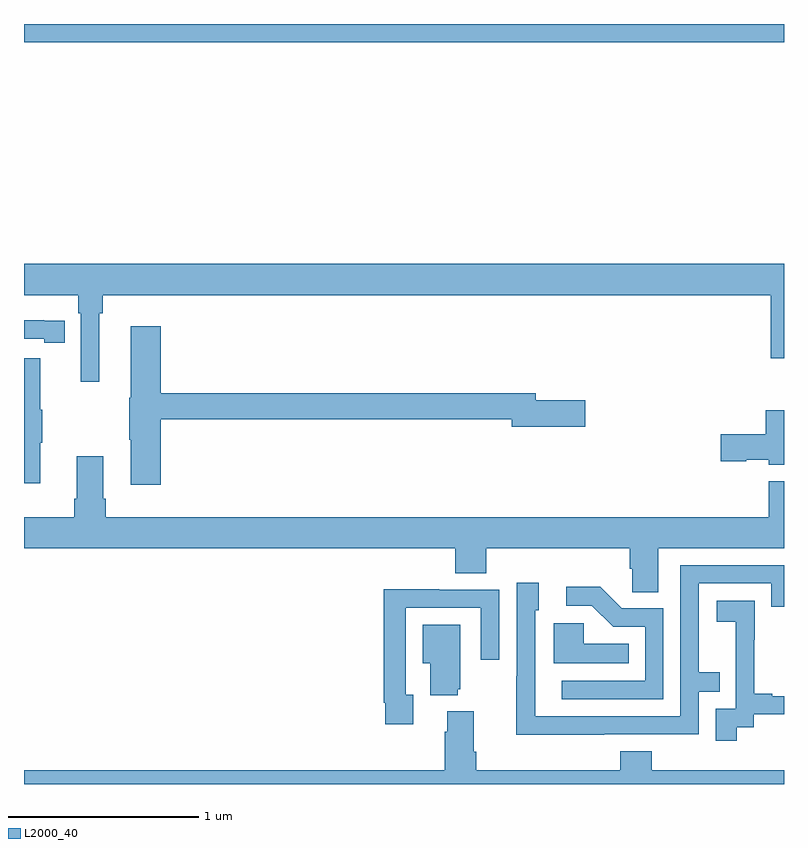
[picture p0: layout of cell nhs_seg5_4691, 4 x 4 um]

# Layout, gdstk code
import gdstk
lib = gdstk.Library(unit=1e-6, precision=1e-09)
def R(c, l, rs):  # rectangles x0, y0, x1, y1
    for r in rs: c.add(gdstk.rectangle(r[:2], r[2:], *l))
def P(c, l, *ps):  # polygons
    for p in ps: c.add(gdstk.Polygon(p, *l))
L2000_40 = (2000, 40)

nhs_seg5_4691 = lib.new_cell('nhs_seg5_4691')
R(nhs_seg5_4691, L2000_40, [(385,912.704,389,912.799)])
P(nhs_seg5_4691, L2000_40, [(385.396,911.276),(385.415,911.276),(385.415,911.372),(388.93,911.372),(388.93,911.04),(389,911.04),(389,911.536),(385,911.536),(385,911.372),(385.286,911.372),(385.286,911.276),(385.299,911.276),(385.299,910.917),(385.396,910.917)],
  [(385.214,911.238),(385.106,911.238),(385.106,911.239),(385,911.239),(385,911.142),(385.106,911.142),(385.106,911.122),(385.214,911.122)],
  [(385.721,910.72),(387.566,910.72),(387.566,910.678),(387.955,910.678),(387.955,910.82),(387.694,910.82),(387.694,910.856),(385.721,910.856),(385.721,911.209),(385.562,911.209),(385.562,910.833),(385.555,910.833),(385.555,910.612),(385.562,910.612),(385.562,910.374),(385.721,910.374)],
  [(385.085,910.595),(385.096,910.595),(385.096,910.769),(385.085,910.769),(385.085,911.041),(385,911.041),(385,910.383),(385.085,910.383)],
  [(389,910.765),(388.904,910.765),(388.904,910.64),(388.668,910.64),(388.668,910.498),(388.8,910.498),(388.8,910.505),(388.92,910.505),(388.92,910.478),(389,910.478)],
  [(388.339,910.04),(389,910.04),(389,910.393),(388.919,910.393),(388.919,910.204),(385.43,910.204),(385.43,910.3),(385.417,910.3),(385.417,910.525),(385.277,910.525),(385.277,910.3),(385.265,910.3),(385.265,910.204),(385,910.204),(385,910.04),(387.269,910.04),(387.269,909.907),(387.434,909.907),(387.434,910.04),(388.187,910.04),(388.187,909.931),(388.2,909.931),(388.2,909.808),(388.339,909.808)],
  [(388.055,909.06),(388.551,909.06),(388.551,909.285),(388.661,909.285),(388.661,909.386),(388.551,909.386),(388.551,909.855),(388.932,909.855),(388.932,909.732),(389,909.732),(389,909.951),(388.455,909.951),(388.455,909.156),(387.691,909.156),(387.691,909.41),(387.69,909.41),(387.69,909.714),(387.709,909.714),(387.709,909.859),(387.594,909.859),(387.594,909.365),(387.592,909.365),(387.592,909.059),(388.055,909.059)],
  [(388.365,909.723),(388.146,909.723),(388.033,909.836),(387.855,909.836),(387.855,909.738),(387.989,909.738),(388.1,909.627),(388.269,909.627),(388.269,909.342),(387.831,909.342),(387.831,909.246),(388.365,909.246)],
  [(387.049,909.27),(387.009,909.27),(387.009,909.726),(387.405,909.726),(387.405,909.453),(387.501,909.453),(387.501,909.822),(387.185,909.822),(387.185,909.824),(386.893,909.824),(386.893,909.226),(386.901,909.226),(386.901,909.114),(387.049,909.114)],
  [(388.75,909.097),(388.842,909.097),(388.842,909.165),(389,909.165),(389,909.261),(388.939,909.261),(388.939,909.274),(388.844,909.274),(388.844,909.557),(388.845,909.557),(388.845,909.763),(388.647,909.763),(388.647,909.653),(388.745,909.653),(388.745,909.425),(388.746,909.425),(388.746,909.195),(388.641,909.195),(388.641,909.027),(388.75,909.027)],
  [(388.184,909.538),(387.945,909.538),(387.945,909.646),(387.788,909.646),(387.788,909.434),(388.184,909.434)],
  [(387.284,909.297),(387.295,909.297),(387.295,909.637),(387.098,909.637),(387.098,909.434),(387.137,909.434),(387.137,909.266),(387.284,909.266)],
  [(389,908.872),(388.304,908.872),(388.304,908.971),(388.139,908.971),(388.139,908.872),(387.38,908.872),(387.38,908.968),(387.367,908.968),(387.367,909.181),(387.227,909.181),(387.227,909.074),(387.215,909.074),(387.215,908.872),(385,908.872),(385,908.799),(389,908.799)])

lib.write_gds('nhs_seg5_4691.gds')
